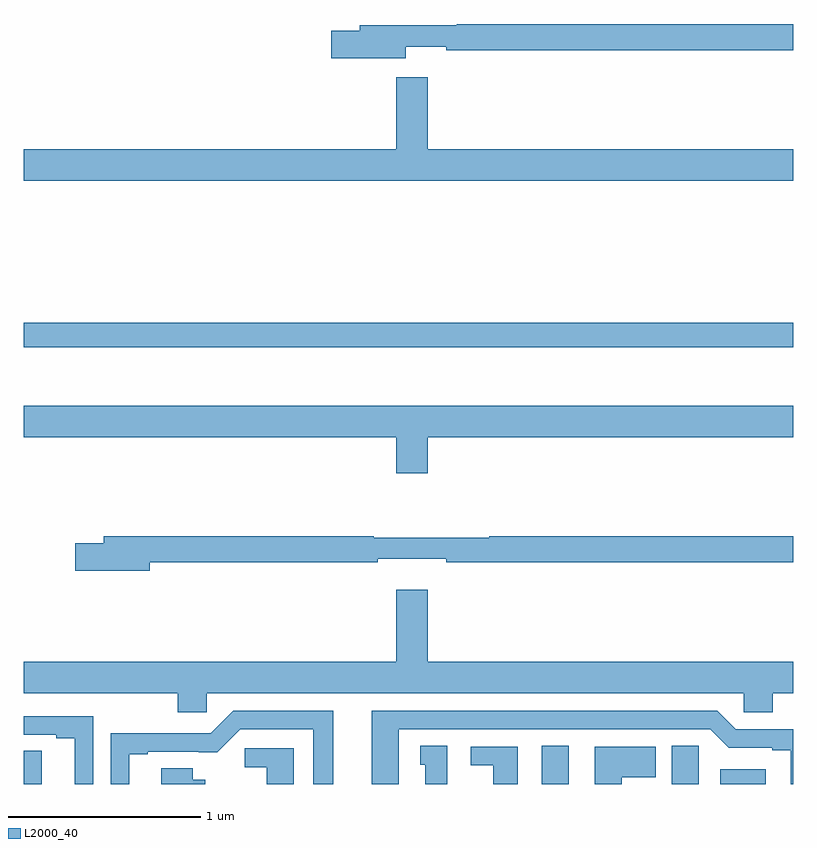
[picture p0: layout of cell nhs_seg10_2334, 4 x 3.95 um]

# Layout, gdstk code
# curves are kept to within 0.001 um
import gdstk
lib = gdstk.Library(unit=1e-6, precision=1e-09)
def R(c, l, rs):  # rectangles x0, y0, x1, y1
    for r in rs: c.add(gdstk.rectangle(r[:2], r[2:], *l))
def P(c, l, *ps):  # polygons
    for p in ps: c.add(gdstk.Polygon(p, *l))
L2000_40 = (2000, 40)

nhs_seg10_2334 = lib.new_cell('nhs_seg10_2334')
R(nhs_seg10_2334, L2000_40, [(235,1310.5,235.093,1310.672), (237.692,1310.5,237.832,1310.699), (238.622,1310.5,238.858,1310.578), (235,1312.77,239,1312.898)])
P(nhs_seg10_2334, L2000_40, [(236.986,1314.335),(237.196,1314.335),(237.196,1314.316),(239,1314.316),(239,1314.452),(237.251,1314.452),(237.251,1314.445),(236.747,1314.445),(236.747,1314.416),(236.598,1314.416),(236.598,1314.274),(236.986,1314.274)],
  [(239,1313.8),(237.1,1313.8),(237.1,1314.175),(236.936,1314.175),(236.936,1313.8),(235,1313.8),(235,1313.636),(239,1313.636)],
  [(237.1,1312.304),(239,1312.304),(239,1312.468),(235,1312.468),(235,1312.304),(236.936,1312.304),(236.936,1312.116),(237.1,1312.116)],
  [(235.654,1311.652),(236.84,1311.652),(236.84,1311.671),(237.196,1311.671),(237.196,1311.652),(239,1311.652),(239,1311.788),(237.419,1311.788),(237.419,1311.781),(236.819,1311.781),(236.819,1311.788),(235.415,1311.788),(235.415,1311.752),(235.266,1311.752),(235.266,1311.61),(235.654,1311.61)],
  [(235.95,1310.972),(238.743,1310.972),(238.743,1310.874),(238.895,1310.874),(238.895,1310.972),(239,1310.972),(239,1311.136),(237.1,1311.136),(237.1,1311.511),(236.936,1311.511),(236.936,1311.136),(235,1311.136),(235,1310.972),(235.799,1310.972),(235.799,1310.874),(235.95,1310.874)],
  [(235.549,1310.655),(235.645,1310.655),(235.645,1310.667),(236.006,1310.666),(236.124,1310.784),(236.504,1310.784),(236.504,1310.5),(236.608,1310.5),(236.608,1310.88),(236.088,1310.88),(235.971,1310.763),(235.715,1310.763),(235.715,1310.765),(235.452,1310.765),(235.452,1310.5),(235.549,1310.5)],
  [(236.95,1310.784),(238.569,1310.784),(238.665,1310.688),(238.892,1310.688),(238.892,1310.676),(238.988,1310.676),(238.988,1310.5),(239,1310.5),(239,1310.784),(238.701,1310.784),(238.605,1310.88),(236.81,1310.88),(236.81,1310.5),(236.95,1310.5)],
  [(235.362,1310.853),(235,1310.853),(235,1310.757),(235.169,1310.757),(235.169,1310.737),(235.265,1310.737),(235.265,1310.5),(235.362,1310.5)],
  [(238.51,1310.588),(238.509,1310.588),(238.509,1310.699),(238.37,1310.699),(238.37,1310.5),(238.51,1310.5)],
  [(237.202,1310.699),(237.062,1310.699),(237.062,1310.601),(237.086,1310.601),(237.086,1310.5),(237.202,1310.5)],
  [(238.108,1310.536),(238.285,1310.536),(238.285,1310.695),(237.968,1310.695),(237.968,1310.5),(238.108,1310.5)],
  [(237.568,1310.694),(237.324,1310.694),(237.324,1310.598),(237.44,1310.598),(237.44,1310.5),(237.568,1310.5)],
  [(236.404,1310.685),(236.148,1310.685),(236.148,1310.588),(236.264,1310.588),(236.264,1310.5),(236.404,1310.5)],
  [(235.942,1310.521),(235.879,1310.521),(235.879,1310.582),(235.715,1310.582),(235.715,1310.5),(235.942,1310.5)])

lib.write_gds('nhs_seg10_2334.gds')
